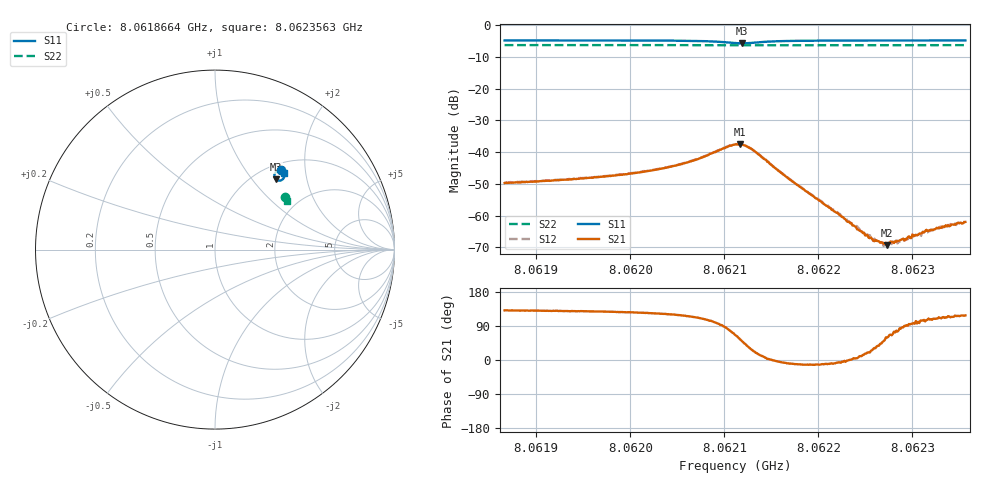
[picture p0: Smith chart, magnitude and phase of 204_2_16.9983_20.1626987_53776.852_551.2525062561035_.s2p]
#  HZ  S  RI  R  50.00
! Rohde & Schwarz Vector Network Analyzer
! Rohde-Schwarz,ZNB20-2Port,1311601062101988,3.16
! Created: UTC 3/20/2024, 11:01:11 PM
! freq[Hz]  re:S11  im:S11  re:S21  im:S21  re:S12  im:S12  re:S22  im:S22
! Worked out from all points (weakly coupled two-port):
!   401 points, 8.0618664 GHz to 8.0623563 GHz, reference 50 ohm
!   highest |S21| = -37.53 dB at 8.0621162 GHz (marker M1); lowest = -69.4 dB at 8.062273 GHz (marker M2)
!   lowest |S11| = -5.7 dB at 8.0621187 GHz (marker M3), VSWR 3.15, Z = 62.1 + j66.4 ohm
!   |S11| at or under -10 dB: nowhere
!   |S22| runs from -6.3 to -6.3 dB; largest |S21 - S12| = 0.0011
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8.0618664e9  0.3678 0.4429  -0.00213 0.00246  -0.00201 0.0026  0.3874 0.2946
8.06194845e9  0.3742 0.437  -0.00241 0.00299  -0.00224 0.00317  0.3901 0.2903
8.06199376e9  0.3783 0.4325  -0.00262 0.00359  -0.00246 0.00379  0.3919 0.2879
8.0620305e9  0.382 0.4267  -0.0029 0.00455  -0.00266 0.00475  0.393 0.286
8.06206969e9  0.3859 0.4139  -0.0029 0.007  -0.00251 0.00727  0.3941 0.2835
8.06211133e9  0.3551 0.3841  0.00529 0.012  0.0061 0.0119  0.3937 0.2809
8.06211623e9  0.3444 0.3875  0.00741 0.011  0.00807 0.0105  0.3935 0.2809
8.06211867e9  0.3397 0.3909  0.00835 0.00998  0.00912 0.00958  0.3935 0.2811
8.06213092e9  0.3307 0.4152  0.00976 0.00422  0.00998 0.00375  0.3938 0.2817
8.06216766e9  0.3559 0.4392  0.00385 -0.000593  0.00386 -0.000827  0.3966 0.2807
8.06219338e9  0.3657 0.4386  0.00202 -0.000446  0.00204 -0.000578  0.3976 0.2791
8.06224114e9  0.3749 0.435  0.000603 5.01e-05  0.000678 4.38e-05  0.3995 0.2768
8.06224726e9  0.3757 0.4346  0.000515 0.00012  0.000524 8.22e-05  0.3997 0.2764
8.06225584e9  0.3766 0.4339  0.000414 0.000185  0.000452 0.000128  0.4001 0.276
8.06226686e9  0.378 0.4333  0.000277 0.000261  0.000277 0.000251  0.4005 0.2755
8.06227298e9  0.3787 0.4329  0.000173 0.000292  0.000203 0.000311  0.4006 0.2751
8.06227543e9  0.3789 0.4325  0.000147 0.000332  0.000195 0.000325  0.4007 0.275
8.06229258e9  0.3806 0.4315  1.57e-06 0.000428  7.03e-05 0.000407  0.4012 0.274
8.0622987e9  0.3812 0.4311  -4.09e-05 0.000439  -2.41e-06 0.000465  0.4016 0.2738
8.06230727e9  0.382 0.4305  -6.87e-05 0.000512  -8.33e-05 0.000508  0.4018 0.2731
8.06231584e9  0.3826 0.43  -0.00016 0.000549  -0.000127 0.000527  0.4021 0.2729
8.06235626e9  0.3859 0.4275  -0.000367 0.000702  -0.000299 0.000741  0.4033 0.2709
